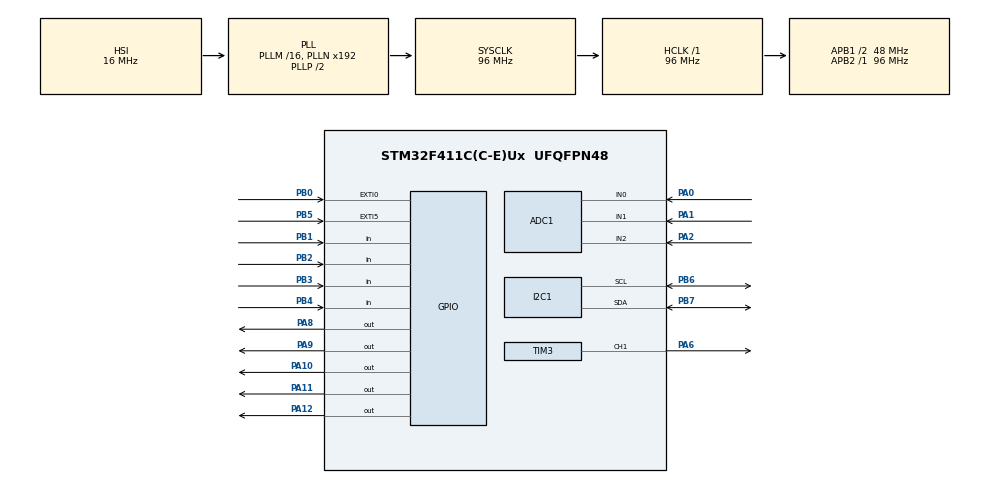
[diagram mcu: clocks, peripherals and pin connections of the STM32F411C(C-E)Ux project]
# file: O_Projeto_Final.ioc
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ADC1.Channel-0\#ChannelRegularConversion=ADC_CHANNEL_0
ADC1.Channel-1\#ChannelRegularConversion=ADC_CHANNEL_1
ADC1.Channel-2\#ChannelRegularConversion=ADC_CHANNEL_2
ADC1.ContinuousConvMode=ENABLE
ADC1.DMAContinuousRequests=ENABLE
ADC1.NbrOfConversion=3
ADC1.NbrOfConversionFlag=1
ADC1.Rank-0\#ChannelRegularConversion=1
ADC1.Rank-1\#ChannelRegularConversion=2
ADC1.Rank-2\#ChannelRegularConversion=3
ADC1.SamplingTime-0\#ChannelRegularConversion=ADC_SAMPLETIME_84CYCLES
ADC1.SamplingTime-1\#ChannelRegularConversion=ADC_SAMPLETIME_84CYCLES
ADC1.SamplingTime-2\#ChannelRegularConversion=ADC_SAMPLETIME_84CYCLES
ADC1.ScanConvMode=ENABLE
ADC1.master=1
Dma.ADC1.0.Direction=DMA_PERIPH_TO_MEMORY
Dma.ADC1.0.FIFOMode=DMA_FIFOMODE_DISABLE
Dma.ADC1.0.Instance=DMA2_Stream0
Dma.ADC1.0.MemDataAlignment=DMA_MDATAALIGN_HALFWORD
Dma.ADC1.0.MemInc=DMA_MINC_ENABLE
Dma.ADC1.0.Mode=DMA_CIRCULAR
Dma.ADC1.0.PeriphDataAlignment=DMA_PDATAALIGN_HALFWORD
Dma.ADC1.0.PeriphInc=DMA_PINC_DISABLE
Dma.ADC1.0.Priority=DMA_PRIORITY_LOW
Dma.Request0=ADC1
Mcu.Family=STM32F4
Mcu.Name=STM32F411C(C-E)Ux
Mcu.Package=UFQFPN48
NVIC.ADC_IRQn=true\:0\:0\:false\:false\:true\:true\:true\:true
NVIC.DMA2_Stream0_IRQn=true\:0\:0\:false\:false\:true\:false\:true\:true
NVIC.EXTI0_IRQn=true\:0\:0\:false\:false\:true\:true\:true\:true
NVIC.EXTI9_5_IRQn=true\:0\:0\:false\:false\:true\:true\:true\:true
NVIC.PriorityGroup=NVIC_PRIORITYGROUP_4
NVIC.TIM4_IRQn=true\:0\:0\:false\:false\:true\:true\:true\:true
PA0-WKUP.Signal=ADCx_IN0
PA1.Signal=ADCx_IN1
PA10.Signal=GPIO_Output
PA11.Signal=GPIO_Output
PA12.Signal=GPIO_Output
PA13.Mode=Serial_Wire
PA13.Signal=SYS_JTMS-SWDIO
PA14.Mode=Serial_Wire
PA14.Signal=SYS_JTCK-SWCLK
PA2.Signal=ADCx_IN2
PA6.Signal=S_TIM3_CH1
PA8.Signal=GPIO_Output
PA9.Signal=GPIO_Output
PB0.GPIO_ModeDefaultEXTI=GPIO_MODE_IT_RISING_FALLING
PB0.GPIO_PuPd=GPIO_PULLDOWN
PB0.Signal=GPXTI0
PB1.GPIO_PuPd=GPIO_PULLDOWN
PB1.Signal=GPIO_Input
PB2.Signal=GPIO_Input
PB3.GPIO_PuPd=GPIO_PULLDOWN
PB3.Signal=GPIO_Input
PB4.GPIO_PuPd=GPIO_PULLDOWN
PB4.Signal=GPIO_Input
PB5.GPIO_ModeDefaultEXTI=GPIO_MODE_IT_RISING_FALLING
PB5.GPIO_PuPd=GPIO_PULLDOWN
PB5.Signal=GPXTI5
PB6.GPIO_Pu=GPIO_PULLUP
PB6.Mode=I2C
PB6.Signal=I2C1_SCL
PB7.GPIO_Pu=GPIO_PULLUP
PB7.Mode=I2C
PB7.Signal=I2C1_SDA
PC14-OSC32_IN.Mode=LSE-External-Oscillator
PC14-OSC32_IN.Signal=RCC_OSC32_IN
PC15-OSC32_OUT.Mode=LSE-External-Oscillator
PC15-OSC32_OUT.Signal=RCC_OSC32_OUT
PH0\ -\ OSC_IN.Mode=HSE-External-Oscillator
PH0\ -\ OSC_IN.Signal=RCC_OSC_IN
PH1\ -\ OSC_OUT.Mode=HSE-External-Oscillator
PH1\ -\ OSC_OUT.Signal=RCC_OSC_OUT
ProjectManager.HeapSize=0x200
ProjectManager.StackSize=0x400
ProjectManager.TargetToolchain=STM32CubeIDE
RCC.AHBFreq_Value=96000000
RCC.APB1CLKDivider=RCC_HCLK_DIV2
RCC.APB1Freq_Value=48000000
RCC.APB1TimFreq_Value=96000000
RCC.APB2Freq_Value=96000000
RCC.APB2TimFreq_Value=96000000
RCC.CortexFreq_Value=96000000
RCC.HCLKFreq_Value=96000000
RCC.HSE_VALUE=25000000
RCC.HSI_VALUE=16000000
RCC.SYSCLKFreq_VALUE=96000000
RCC.SYSCLKSource=RCC_SYSCLKSOURCE_PLLCLK
RCC.VCOOutputFreq_Value=192000000
SH.ADCx_IN0.0=ADC1_IN0,IN0
SH.ADCx_IN1.0=ADC1_IN1,IN1
SH.ADCx_IN2.0=ADC1_IN2,IN2
SH.S_TIM3_CH1.0=TIM3_CH1,PWM Generation1 CH1
TIM3.Channel-PWM\ Generation1\ CH1=TIM_CHANNEL_1
TIM4.Period=9999
TIM4.Prescaler=9599
VP_TIM2_VS_ClockSourceINT.Mode=Internal
VP_TIM4_VS_ClockSourceINT.Mode=Internal
board=custom

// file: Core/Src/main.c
/* USER CODE BEGIN Header */
/**
 ******************************************************************************
 * @file           : main.c
 * @brief          : Main program body
 ******************************************************************************
 * @attention
 *
 * Copyright (c) 2026 STMicroelectronics.
 * All rights reserved.
 *
 * This software is licensed under terms that can be found in the LICENSE file
 * in the root directory of this software component.
 * If no LICENSE file comes with this software, it is provided AS-IS.
 *
 ******************************************************************************
 */
/* USER CODE END Header */
#include "main.h"

/* USER CODE BEGIN Includes */
#include "../../ECUAL/I2C_LCD/I2C_LCD.h"
#include <stdio.h>
#include <math.h>
/* USER CODE END Includes */

/* USER CODE BEGIN PD */
#define MyI2C_LCD I2C_LCD_1
/* USER CODE END PD */

ADC_HandleTypeDef hadc1;
DMA_HandleTypeDef hdma_adc1;

I2C_HandleTypeDef hi2c1;

TIM_HandleTypeDef htim2;
TIM_HandleTypeDef htim3;
TIM_HandleTypeDef htim4;

void SystemClock_Config(void);
static void MX_GPIO_Init(void);
static void MX_DMA_Init(void);
static void MX_I2C1_Init(void);
static void MX_ADC1_Init(void);
static void MX_TIM2_Init(void);
static void MX_TIM3_Init(void);
static void MX_TIM4_Init(void);
/* USER CODE BEGIN PFP */
void ativar_Furo();
void alimentar_Barra();
void HMS_Converter();
/* USER CODE END PFP */

/* USER CODE BEGIN 0 */
int menu=0;
int peças_Produzidas = 0;
int peças_Seguidas=0;
int falhas;
int timer_Produção;
int sensor_Temp;
int sensor_Oleo;
int poten_Veloc;
int process_Running=0;
int process_Delays;
int flag=0;
int alimentações_Seguidas=0;
int parar_FM=0;
int tempo_Segundos = 0;
int a =1 ;

float peças_Minuto;
float altura_Oleo;

float temperatura_C;
float temperatura_K;
float nivel_Oleo;
float variação_Oleo;
float variação_Temp;

char string_LCD[17];

uint32_t prev_Tick = 0;
uint16_t prev_Oleo = 0;
uint16_t prev_Temp = 0;
uint16_t prev_Veloc = 0;
uint32_t agora;
uint32_t tempo_Decorrido = 0;

uint32_t delta_ms;
uint32_t pwm_spray;
volatile uint32_t GP_Timer;
uint32_t tempo_Timer;

//Isso é o vetor que o DMA escreve, são as leituras do ADC
uint16_t ADC_Reads[3];

/* USER CODE END 0 */

int main(void)
{

  /* MCU Configuration--------------------------------------------------------*/

  /* Reset of all peripherals, Initializes the Flash interface and the Systick. */
  HAL_Init();

  /* Configure the system clock */
  SystemClock_Config();

  /* Initialize all configured peripherals */
  MX_GPIO_Init();
  MX_DMA_Init();
  MX_I2C1_Init();
  MX_ADC1_Init();
  MX_TIM2_Init();
  MX_TIM3_Init();
  MX_TIM4_Init();
  /* USER CODE BEGIN 2 */

	// Inicialização do LCD
	HAL_Delay(500);
	I2C_LCD_Init(MyI2C_LCD);
	HAL_Delay(100);
	I2C_LCD_Clear(MyI2C_LCD);
	HAL_Delay(100);

	//Inicialização do DMA dos ADCs
	HAL_ADC_Start_DMA(&hadc1, (uint32_t*)ADC_Reads,3);

	HAL_TIM_PWM_Start(&htim3, TIM_CHANNEL_1);

  /* USER CODE END 2 */

  /* Infinite loop */
  /* USER CODE BEGIN WHILE */
	while (1)
	{

		//HAL_GPIO_WritePin(GPIOA, GPIO_PIN_8|GPIO_PIN_9|GPIO_PIN_10|GPIO_PIN_11|GPIO_PIN_12, a);

		//Esse trecho controla os botões cima e baixo
		//Os PB2 e PB3 serão o cima e baixo
		if (HAL_GPIO_ReadPin(GPIOB, GPIO_PIN_2)==1 && process_Running==0)
		{
			I2C_LCD_Clear(MyI2C_LCD);

			process_Running = 0;

			if (menu>6||menu<-1){menu=0;}
			else {menu++;}
			HAL_Delay(200);
		}
		if (HAL_GPIO_ReadPin(GPIOB, GPIO_PIN_3)==1 && process_Running==0)
		{
			I2C_LCD_Clear(MyI2C_LCD);

			process_Running = 0;

			if (menu<1||menu>7){menu=7;}
			else {menu--;}
			HAL_Delay(200);
		}

		//O botão AZUL é o OK, ele muda o process_Running para 1. Isso ativa qualquer ação baseada no menu
		if (HAL_GPIO_ReadPin(GPIOB, GPIO_PIN_1)==1 && process_Running==0)
		{
			process_Running = 1;
			parar_FM = 0;				//Isso serve para o furo multiplo
			GP_Timer = HAL_GetTick();
			if (menu==1)
			{
				tempo_Segundos = 0; 			//Reseta tempo
				HAL_TIM_Base_Start_IT(&htim4);  //Inicia o timer do furo multiplo
				peças_Seguidas=0;				//Reseta peças seguidas
			}
			HAL_Delay(200);
		}

		if (process_Running == 1)
		{
			//Furo unico
			if (menu == 0)
			{
				ativar_Furo();
			}

			//Furo multiplo
			else if (menu == 1)
			{
				ativar_Furo();
			}

			//Soltar Pistões
			else if (menu==2)
			{
				HAL_GPIO_WritePin(GPIOA,  GPIO_PIN_9|GPIO_PIN_10|GPIO_PIN_8|GPIO_PIN_11, 0);
				process_Running = 0;
			}

			else if (menu ==7){}//Isso é pro else nn ferrar tudo

			else
			{
				process_Running = 0;
			}
		}

		//Leituras ADCS
		//PA0: Velocidade, PA1: Temperatura oleo, PA2: Nivel Oleo
		poten_Veloc = ADC_Reads[0];
		sensor_Temp = ADC_Reads[1];
		sensor_Oleo = ADC_Reads[2];

		//Converções do ADC
		//Temperatura varia de 273 a 473 K
		temperatura_K = (float)(sensor_Temp/4095.0)*200.0 + 273;
		temperatura_C = temperatura_K-273.0;

		//Caso temperatura alta
		if (temperatura_C>100 && menu!=21)
		{
			I2C_LCD_Clear(MyI2C_LCD);
			menu=21;
			HAL_TIM_Base_Stop_IT(&htim4);
		}

		//Nivel do Oleo
		//O sensor medira um container 0,2m * 0,2m, com a altura sendo de 0 a 0,2m
		//Para o sensor, ele mede de 0 a 1 metros, e estara 5 cm de distancia do limite maximo
		//Logo 20cm -> h=0 e 5cm -> h=15cm
		//Tambem multiplicampos por 10³ para converter de m³ em L
		altura_Oleo = (float)((0.20)-(sensor_Oleo/4095.0));
		nivel_Oleo = (float)(altura_Oleo*0.2*0.2*pow(10,3));

		//Caso oleo esteja baixo
		if (nivel_Oleo<1&& menu!=22)
		{
			I2C_LCD_Clear(MyI2C_LCD);
			menu=22;
			HAL_TIM_Base_Stop_IT(&htim4);
		}

		//Velocidade
		//O potenciometro vai determinar o tamanh do delay de operações, de 200ms até 1000ms
		process_Delays = (poten_Veloc/4095.0)*800.0 + 200;

		//Spary
		// Escala o potenciometro para o range do PWM (0–65535)
		pwm_spray = 65535 - ((uint32_t)poten_Veloc * 65535) / 4095;
		if (pwm_spray > 65535) pwm_spray = 65535;          // limita o maximo
		if (pwm_spray < 65535/5) pwm_spray = 65535/5;	//Limita um minimo

		__HAL_TIM_SET_COMPARE(&htim3, TIM_CHANNEL_1, pwm_spray);

		// Variação dos potenciômetros (calculada a cada iteração do loop)
		uint32_t agora   = HAL_GetTick();           // tempo atual em ms
		uint32_t delta_ms = agora - prev_Tick;

		if (delta_ms > 0)
		{
			// Converte delta ADC para unidades físicas por minuto
			float delta_oleo_L = ((float)((int)sensor_Oleo - (int)prev_Oleo) / 4095.0f) * 10.0f;
			float delta_temp_C = ((float)((int)sensor_Temp - (int)prev_Temp) / 4095.0f) * 200.0f;

			float minutos = delta_ms / 60000.0f;

			if(process_Running==1 && menu==7)
			{
				variação_Oleo = delta_oleo_L / minutos;
				variação_Temp = delta_temp_C / minutos;
				process_Running = 0;
			}

		}

		prev_Oleo = sensor_Oleo;
		prev_Temp = sensor_Temp;
		prev_Tick = agora;
		prev_Veloc = poten_Veloc;

		//Se der muito erro, parar processos e avisar
		if (alimentações_Seguidas>5)
		{
			menu=-2;
			process_Running=0;
			parar_FM = 1;
			alimentações_Seguidas=0;
			HAL_TIM_Base_Stop_IT(&htim4);
			I2C_LCD_Clear(MyI2C_LCD);
		}

		//Caso tenha alguem erro, ligar led de erro
		if (menu>7 || menu <0)
		{
			HAL_GPIO_WritePin(GPIOA,  GPIO_PIN_12, 1);
		}
		else {HAL_GPIO_WritePin(GPIOA,  GPIO_PIN_12, 0);}

		//MenuHandler -- Seriamente pensando em usar uma função para lidar com tantos menus
		switch(menu)
		{
		case 0:
			I2C_LCD_SetCursor(MyI2C_LCD, 0,0);
			I2C_LCD_WriteString(MyI2C_LCD, "Modo Furo Unico:");
			break;

		case 1:

			//Se nn tiver rodando ele mostra a pergunta
			if (process_Running==0)
			{
				I2C_LCD_SetCursor(MyI2C_LCD, 0,0);
				I2C_LCD_WriteString(MyI2C_LCD, "Modo Furos Multiplos");

			}

			else
			{
				sprintf(string_LCD,"Pecas: %09d",peças_Produzidas);
				I2C_LCD_WriteString(MyI2C_LCD, string_LCD);
				I2C_LCD_SetCursor(MyI2C_LCD, 0,1);

				sprintf(string_LCD,"%02d:%02d:%02d",(tempo_Segundos/3600),(tempo_Segundos%3600)/60,tempo_Segundos%60);
				I2C_LCD_WriteString(MyI2C_LCD, string_LCD);
				I2C_LCD_SetCursor(MyI2C_LCD, 0,0);
			}

			break;

		case 2:
			sprintf(string_LCD,"OK para");
			I2C_LCD_WriteString(MyI2C_LCD, string_LCD);
			I2C_LCD_SetCursor(MyI2C_LCD, 0,1);

			sprintf(string_LCD,"Liberar psts");
			I2C_LCD_WriteString(MyI2C_LCD, string_LCD);
			I2C_LCD_SetCursor(MyI2C_LCD, 0,0);

			break;

			//Talvez inutil
		case 3:

			sprintf(string_LCD,"Pecas: %d",peças_Produzidas);
			I2C_LCD_WriteString(MyI2C_LCD, string_LCD);
			I2C_LCD_SetCursor(MyI2C_LCD, 0,1);

			sprintf(string_LCD,"%02d:%02d:%02d",(tempo_Segundos/3600),(tempo_Segundos%3600)/60,tempo_Segundos%60);
			I2C_LCD_WriteString(MyI2C_LCD, string_LCD);
			I2C_LCD_SetCursor(MyI2C_LCD, 0,0);

			break;

		case 4:

			if (tempo_Segundos!=0)
			{
				peças_Minuto = (float)(1.0*peças_Produzidas/tempo_Segundos)*60.0;
			}

			sprintf(string_LCD,"Pcs Min: %05.2f",peças_Minuto);
			I2C_LCD_WriteString(MyI2C_LCD, string_LCD);
			I2C_LCD_SetCursor(MyI2C_LCD, 0,1);

			sprintf(string_LCD,"Falhas: %d",falhas);
			I2C_LCD_WriteString(MyI2C_LCD, string_LCD);
			I2C_LCD_SetCursor(MyI2C_LCD, 0,0);

			break;

		case 5:
			sprintf(string_LCD,"Temperaturas:");
			I2C_LCD_WriteString(MyI2C_LCD, string_LCD);
			I2C_LCD_SetCursor(MyI2C_LCD, 0,1);

			sprintf(string_LCD,"%04.1f C %04.1f K",temperatura_C,temperatura_K);
			I2C_LCD_WriteString(MyI2C_LCD, string_LCD);
			I2C_LCD_SetCursor(MyI2C_LCD, 0,0);

			break;

		case 6:
			sprintf(string_LCD,"Nivel do oleo:");
			I2C_LCD_WriteString(MyI2C_LCD, string_LCD);
			I2C_LCD_SetCursor(MyI2C_LCD, 0,1);

			sprintf(string_LCD,"%05.2f L",nivel_Oleo);
			I2C_LCD_WriteString(MyI2C_LCD, string_LCD);
			I2C_LCD_SetCursor(MyI2C_LCD, 0,0);

			break;

		case 7:
			sprintf(string_LCD,"vOleo: %04.1f L/m",variação_Oleo);
			I2C_LCD_WriteString(MyI2C_LCD, string_LCD);
			I2C_LCD_SetCursor(MyI2C_LCD, 0,1);

			sprintf(string_LCD,"vTmp: %04.1f C/m",variação_Temp);
			I2C_LCD_WriteString(MyI2C_LCD, string_LCD);
			I2C_LCD_SetCursor(MyI2C_LCD, 0,0);

			break;

			//Casos especiais:
			//tempo de produção (Furo multiplo)
		case 20:
			sprintf(string_LCD,"Minutos:       ");
			I2C_LCD_WriteString(MyI2C_LCD, string_LCD);
			I2C_LCD_SetCursor(MyI2C_LCD, 0,1);

			sprintf(string_LCD,"%03d",timer_Produção);
			I2C_LCD_WriteString(MyI2C_LCD, string_LCD);
			I2C_LCD_SetCursor(MyI2C_LCD, 0,0);

			break;

			//Proteção temp alta
		case 21:
			sprintf(string_LCD,"ALERTA: TEMP");
			I2C_LCD_WriteString(MyI2C_LCD, string_LCD);
			I2C_LCD_SetCursor(MyI2C_LCD, 0,1);

			sprintf(string_LCD,"ALTA");
			I2C_LCD_WriteString(MyI2C_LCD, string_LCD);
			I2C_LCD_SetCursor(MyI2C_LCD, 0,0);

			break;

			//Oleo baixo
		case 22:
			sprintf(string_LCD,"ALERTA: NIVEL");
			I2C_LCD_WriteString(MyI2C_LCD, string_LCD);
			I2C_LCD_SetCursor(MyI2C_LCD, 0,1);

			sprintf(string_LCD,"OLEO BAIXO");
			I2C_LCD_WriteString(MyI2C_LCD, string_LCD);
			I2C_LCD_SetCursor(MyI2C_LCD, 0,0);

			break;

			//Falhas contnuas
		case -2:
			sprintf(string_LCD,"ALERTA: MUITAS");
			I2C_LCD_WriteString(MyI2C_LCD, string_LCD);
			I2C_LCD_SetCursor(MyI2C_LCD, 0,1);

			sprintf(string_LCD,"FALHAS");
			I2C_LCD_WriteString(MyI2C_LCD, string_LCD);
			I2C_LCD_SetCursor(MyI2C_LCD, 0,0);

			break;

			//PARADA EMERGENCIAL
		case -1:
			sprintf(string_LCD,"PARADA DE       ");
			I2C_LCD_WriteString(MyI2C_LCD, string_LCD);
			I2C_LCD_SetCursor(MyI2C_LCD, 0,1);

			sprintf(string_LCD,"EMERGENCIA!     ");
			I2C_LCD_WriteString(MyI2C_LCD, string_LCD);
			I2C_LCD_SetCursor(MyI2C_LCD, 0,0);

			break;
		}

    /* USER CODE END WHILE */

	}
}

void SystemClock_Config(void)
{
  RCC_OscInitTypeDef RCC_OscInitStruct = {0};
  RCC_ClkInitTypeDef RCC_ClkInitStruct = {0};

  /** Configure the main internal regulator output voltage
  */
  __HAL_RCC_PWR_CLK_ENABLE();
  __HAL_PWR_VOLTAGESCALING_CONFIG(PWR_REGULATOR_VOLTAGE_SCALE1);

  /** Initializes the RCC Oscillators according to the specified parameters
  * in the RCC_OscInitTypeDef structure.
  */
  RCC_OscInitStruct.OscillatorType = RCC_OSCILLATORTYPE_HSI;
  RCC_OscInitStruct.HSIState = RCC_HSI_ON;
  RCC_OscInitStruct.HSICalibrationValue = RCC_HSICALIBRATION_DEFAULT;
  RCC_OscInitStruct.PLL.PLLState = RCC_PLL_ON;
  RCC_OscInitStruct.PLL.PLLSource = RCC_PLLSOURCE_HSI;
  RCC_OscInitStruct.PLL.PLLM = 16;
  RCC_OscInitStruct.PLL.PLLN = 192;
  RCC_OscInitStruct.PLL.PLLP = RCC_PLLP_DIV2;
  RCC_OscInitStruct.PLL.PLLQ = 4;
  if (HAL_RCC_OscConfig(&RCC_OscInitStruct) != HAL_OK)
  {
    Error_Handler();
  }

  /** Initializes the CPU, AHB and APB buses clocks
  */
  RCC_ClkInitStruct.ClockType = RCC_CLOCKTYPE_HCLK|RCC_CLOCKTYPE_SYSCLK
                              |RCC_CLOCKTYPE_PCLK1|RCC_CLOCKTYPE_PCLK2;
  RCC_ClkInitStruct.SYSCLKSource = RCC_SYSCLKSOURCE_PLLCLK;
  RCC_ClkInitStruct.AHBCLKDivider = RCC_SYSCLK_DIV1;
  RCC_ClkInitStruct.APB1CLKDivider = RCC_HCLK_DIV2;
  RCC_ClkInitStruct.APB2CLKDivider = RCC_HCLK_DIV1;

  if (HAL_RCC_ClockConfig(&RCC_ClkInitStruct, FLASH_LATENCY_3) != HAL_OK)
  {
    Error_Handler();
  }
}

static void MX_ADC1_Init(void)
{

  ADC_ChannelConfTypeDef sConfig = {0};

  /** Configure the global features of the ADC (Clock, Resolution, Data Alignment and number of conversion)
  */
  hadc1.Instance = ADC1;
  hadc1.Init.ClockPrescaler = ADC_CLOCK_SYNC_PCLK_DIV4;
  hadc1.Init.Resolution = ADC_RESOLUTION_12B;
  hadc1.Init.ScanConvMode = ENABLE;
  hadc1.Init.ContinuousConvMode = ENABLE;
  hadc1.Init.DiscontinuousConvMode = DISABLE;
  hadc1.Init.ExternalTrigConvEdge = ADC_EXTERNALTRIGCONVEDGE_NONE;
  hadc1.Init.ExternalTrigConv = ADC_SOFTWARE_START;
  hadc1.Init.DataAlign = ADC_DATAALIGN_RIGHT;
  hadc1.Init.NbrOfConversion = 3;
  hadc1.Init.DMAContinuousRequests = ENABLE;
  hadc1.Init.EOCSelection = ADC_EOC_SINGLE_CONV;
  if (HAL_ADC_Init(&hadc1) != HAL_OK)
  {
    Error_Handler();
  }

  /** Configure for the selected ADC regular channel its corresponding rank in the sequencer and its sample time.
  */
  sConfig.Channel = ADC_CHANNEL_0;
  sConfig.Rank = 1;
  sConfig.SamplingTime = ADC_SAMPLETIME_84CYCLES;
  if (HAL_ADC_ConfigChannel(&hadc1, &sConfig) != HAL_OK)
  {
    Error_Handler();
  }

  /** Configure for the selected ADC regular channel its corresponding rank in the sequencer and its sample time.
  */
  sConfig.Channel = ADC_CHANNEL_1;
  sConfig.Rank = 2;
  if (HAL_ADC_ConfigChannel(&hadc1, &sConfig) != HAL_OK)
  {
    Error_Handler();
  }

  /** Configure for the selected ADC regular channel its corresponding rank in the sequencer and its sample time.
  */
  sConfig.Channel = ADC_CHANNEL_2;
  sConfig.Rank = 3;
  if (HAL_ADC_ConfigChannel(&hadc1, &sConfig) != HAL_OK)
  {
    Error_Handler();
  }

}

static void MX_I2C1_Init(void)
{

  hi2c1.Instance = I2C1;
  hi2c1.Init.ClockSpeed = 100000;
  hi2c1.Init.DutyCycle = I2C_DUTYCYCLE_2;
  hi2c1.Init.OwnAddress1 = 0;
  hi2c1.Init.AddressingMode = I2C_ADDRESSINGMODE_7BIT;
  hi2c1.Init.DualAddressMode = I2C_DUALADDRESS_DISABLE;
  hi2c1.Init.OwnAddress2 = 0;
  hi2c1.Init.GeneralCallMode = I2C_GENERALCALL_DISABLE;
  hi2c1.Init.NoStretchMode = I2C_NOSTRETCH_DISABLE;
  if (HAL_I2C_Init(&hi2c1) != HAL_OK)
  {
    Error_Handler();
  }

}

static void MX_TIM2_Init(void)
{

  TIM_ClockConfigTypeDef sClockSourceConfig = {0};
  TIM_MasterConfigTypeDef sMasterConfig = {0};

  htim2.Instance = TIM2;
  htim2.Init.Prescaler = 0;
  htim2.Init.CounterMode = TIM_COUNTERMODE_UP;
  htim2.Init.Period = 4294967295;
  htim2.Init.ClockDivision = TIM_CLOCKDIVISION_DIV1;
  htim2.Init.AutoReloadPreload = TIM_AUTORELOAD_PRELOAD_DISABLE;
  if (HAL_TIM_Base_Init(&htim2) != HAL_OK)
  {
    Error_Handler();
  }
  sClockSourceConfig.ClockSource = TIM_CLOCKSOURCE_INTERNAL;
  if (HAL_TIM_ConfigClockSource(&htim2, &sClockSourceConfig) != HAL_OK)
  {
    Error_Handler();
  }
  sMasterConfig.MasterOutputTrigger = TIM_TRGO_RESET;
  sMasterConfig.MasterSlaveMode = TIM_MASTERSLAVEMODE_DISABLE;
  if (HAL_TIMEx_MasterConfigSynchronization(&htim2, &sMasterConfig) != HAL_OK)
  {
    Error_Handler();
  }

}

static void MX_TIM3_Init(void)
{

  TIM_MasterConfigTypeDef sMasterConfig = {0};
  TIM_OC_InitTypeDef sConfigOC = {0};

  htim3.Instance = TIM3;
  htim3.Init.Prescaler = 0;
  htim3.Init.CounterMode = TIM_COUNTERMODE_UP;
  htim3.Init.Period = 65535;
  htim3.Init.ClockDivision = TIM_CLOCKDIVISION_DIV1;
  htim3.Init.AutoReloadPreload = TIM_AUTORELOAD_PRELOAD_DISABLE;
  if (HAL_TIM_PWM_Init(&htim3) != HAL_OK)
  {
    Error_Handler();
  }
  sMasterConfig.MasterOutputTrigger = TIM_TRGO_RESET;
  sMasterConfig.MasterSlaveMode = TIM_MASTERSLAVEMODE_DISABLE;
  if (HAL_TIMEx_MasterConfigSynchronization(&htim3, &sMasterConfig) != HAL_OK)
  {
    Error_Handler();
  }
  sConfigOC.OCMode = TIM_OCMODE_PWM1;
  sConfigOC.Pulse = 0;
  sConfigOC.OCPolarity = TIM_OCPOLARITY_HIGH;
  sConfigOC.OCFastMode = TIM_OCFAST_DISABLE;
  if (HAL_TIM_PWM_ConfigChannel(&htim3, &sConfigOC, TIM_CHANNEL_1) != HAL_OK)
  {
    Error_Handler();
  }
  HAL_TIM_MspPostInit(&htim3);

}

static void MX_TIM4_Init(void)
{

  TIM_ClockConfigTypeDef sClockSourceConfig = {0};
  TIM_MasterConfigTypeDef sMasterConfig = {0};

  htim4.Instance = TIM4;
  htim4.Init.Prescaler = 9599;
  htim4.Init.CounterMode = TIM_COUNTERMODE_UP;
  htim4.Init.Period = 9999;
  htim4.Init.ClockDivision = TIM_CLOCKDIVISION_DIV1;
  htim4.Init.AutoReloadPreload = TIM_AUTORELOAD_PRELOAD_DISABLE;
  if (HAL_TIM_Base_Init(&htim4) != HAL_OK)
  {
    Error_Handler();
  }
  sClockSourceConfig.ClockSource = TIM_CLOCKSOURCE_INTERNAL;
  if (HAL_TIM_ConfigClockSource(&htim4, &sClockSourceConfig) != HAL_OK)
  {
    Error_Handler();
  }
  sMasterConfig.MasterOutputTrigger = TIM_TRGO_RESET;
  sMasterConfig.MasterSlaveMode = TIM_MASTERSLAVEMODE_DISABLE;
  if (HAL_TIMEx_MasterConfigSynchronization(&htim4, &sMasterConfig) != HAL_OK)
  {
    Error_Handler();
  }

}

static void MX_DMA_Init(void)
{

  /* DMA controller clock enable */
  __HAL_RCC_DMA2_CLK_ENABLE();

  /* DMA interrupt init */
  /* DMA2_Stream0_IRQn interrupt configuration */
  HAL_NVIC_SetPriority(DMA2_Stream0_IRQn, 0, 0);
  HAL_NVIC_EnableIRQ(DMA2_Stream0_IRQn);

}

static void MX_GPIO_Init(void)
{
  GPIO_InitTypeDef GPIO_InitStruct = {0};

  /* GPIO Ports Clock Enable */
  __HAL_RCC_GPIOC_CLK_ENABLE();
  __HAL_RCC_GPIOH_CLK_ENABLE();
  __HAL_RCC_GPIOA_CLK_ENABLE();
  __HAL_RCC_GPIOB_CLK_ENABLE();

  /*Configure GPIO pin Output Level */
  HAL_GPIO_WritePin(GPIOA, GPIO_PIN_8|GPIO_PIN_9|GPIO_PIN_10|GPIO_PIN_11
                          |GPIO_PIN_12, GPIO_PIN_RESET);

  /*Configure GPIO pins : PB0 PB5 */
  GPIO_InitStruct.Pin = GPIO_PIN_0|GPIO_PIN_5;
  GPIO_InitStruct.Mode = GPIO_MODE_IT_RISING_FALLING;
  GPIO_InitStruct.Pull = GPIO_PULLDOWN;
  HAL_GPIO_Init(GPIOB, &GPIO_InitStruct);

  /*Configure GPIO pins : PB1 PB3 PB4 */
  GPIO_InitStruct.Pin = GPIO_PIN_1|GPIO_PIN_3|GPIO_PIN_4;
  GPIO_InitStruct.Mode = GPIO_MODE_INPUT;
  GPIO_InitStruct.Pull = GPIO_PULLDOWN;
  HAL_GPIO_Init(GPIOB, &GPIO_InitStruct);

  /*Configure GPIO pin : PB2 */
  GPIO_InitStruct.Pin = GPIO_PIN_2;
  GPIO_InitStruct.Mode = GPIO_MODE_INPUT;
  GPIO_InitStruct.Pull = GPIO_NOPULL;
  HAL_GPIO_Init(GPIOB, &GPIO_InitStruct);

  /*Configure GPIO pins : PA8 PA9 PA10 PA11
                           PA12 */
  GPIO_InitStruct.Pin = GPIO_PIN_8|GPIO_PIN_9|GPIO_PIN_10|GPIO_PIN_11
                          |GPIO_PIN_12;
  GPIO_InitStruct.Mode = GPIO_MODE_OUTPUT_PP;
  GPIO_InitStruct.Pull = GPIO_NOPULL;
  GPIO_InitStruct.Speed = GPIO_SPEED_FREQ_LOW;
  HAL_GPIO_Init(GPIOA, &GPIO_InitStruct);

  /* EXTI interrupt init*/
  HAL_NVIC_SetPriority(EXTI0_IRQn, 0, 0);
  HAL_NVIC_EnableIRQ(EXTI0_IRQn);

  HAL_NVIC_SetPriority(EXTI9_5_IRQn, 0, 0);
  HAL_NVIC_EnableIRQ(EXTI9_5_IRQn);

}

/* USER CODE BEGIN 4 */

//Interru´çoes
void HAL_TIM_PeriodElapsedCallback(TIM_HandleTypeDef *htim)
{
    // Verifica se a interrupção veio do TIM4
    if (htim->Instance == TIM4)
    {
        tempo_Segundos++; //"porque não usar o hal_getTick?" Simples, menos variaveis, e menos confuso
        peças_Seguidas++;
    }
}

void HAL_GPIO_EXTI_Callback(uint16_t GPIO_Pin)
{
	// Verifica se a interrupção veio do pino 5
	if (GPIO_Pin == GPIO_PIN_0)
	{
		// Ativa flag para parar o furo multiplo e para o timer 4; Isto é feito pra utilizar com o furo multiplo
		parar_FM = 1;
		 HAL_TIM_Base_Stop_IT(&htim4);
	}

	else if (GPIO_Pin == GPIO_PIN_5)
	{
		//Mais divertido do que o anterior, esse mata qualquer processo forçando process_Running como 0
		//Infelizmente, não divertido é colocar a maquina em operação denovo
		//Como o codigo roda sem interrupções, mudar essa flag IMEDIATAMENTE para qualquer processo

		HAL_TIM_Base_Stop_IT(&htim4);		//Isso é para a parada de emergencia congelar o tiemr

		menu = -1;
		process_Running = 0;
		parar_FM = 1;
	}
}

void ativar_Furo()
{
	//PA8 - Pistão avanco
	//PA9 - Pistao trava
	//PA10 - Furar
	//PA11 - Ejetar Peça

	//Devemos primeiro travar o pistão trava
	if (flag!=1)
	{
		HAL_GPIO_WritePin(GPIOA,  GPIO_PIN_9, 1);
	}

	//Furar após dalay
	if ((HAL_GetTick()-GP_Timer > process_Delays) && flag!=1)
	{
		HAL_GPIO_WritePin(GPIOA, GPIO_PIN_10, 1);
	}

	//Levantar Furar após delay
	if (HAL_GetTick()-GP_Timer > 2*process_Delays && flag!=1)
	{
		HAL_GPIO_WritePin(GPIOA,  GPIO_PIN_10, 0);
	}

	//Ejetar peça
	if (HAL_GetTick()-GP_Timer > (2*process_Delays + 100) && flag!=1)
		{
			HAL_GPIO_WritePin(GPIOA,  GPIO_PIN_11, 1);
		}

	//Soltar Travas e retrair ejetor
	if (HAL_GetTick()-GP_Timer > 3*process_Delays && flag!=1)
	{
		HAL_GPIO_WritePin(GPIOA,  GPIO_PIN_9, 0);
		HAL_GPIO_WritePin(GPIOA,  GPIO_PIN_11, 0);
	}

	//Liberar Processos
	if (HAL_GetTick()-GP_Timer > 4*process_Delays || flag==1)
	{
		//Se for furo unico, encerra processo e adiciona contador
		if (menu==0){process_Running=0; peças_Produzidas++;}

		//Se for furo multiplo, alimentar maquina
		else if (menu==1 )
		{

			//Se não tiver barra (PB4 apertado), alimentar
			if (HAL_GPIO_ReadPin(GPIOB, GPIO_PIN_4)==1 || flag==1)
			{
				if (flag ==0)
				{
					GP_Timer = HAL_GetTick();
				}
				flag=1;
				alimentar_Barra();
			}

		}
	}

}

void alimentar_Barra()
{

	//PA8 - Pistão avanco
	//PA9 - Pistao trava
	//PA10 - Furar

	//Travar pistão
	//Avançar Barra
	//Soltar pistão
	//Retornar Avanço

	//Travar
	HAL_GPIO_WritePin(GPIOA,  GPIO_PIN_9, 1);

	//Avançar
	if (HAL_GetTick()-GP_Timer > process_Delays)
	{
		HAL_GPIO_WritePin(GPIOA, GPIO_PIN_8, 1);
	}

	//Soltar
	if (HAL_GetTick()-GP_Timer > 2*process_Delays)
	{
		HAL_GPIO_WritePin(GPIOA,  GPIO_PIN_9, 0);
	}

	//Retornar
	if (HAL_GetTick()-GP_Timer > 3*process_Delays)
	{
		HAL_GPIO_WritePin(GPIOA,  GPIO_PIN_8, 0);
	}

	//Liberar Processos
	if (HAL_GetTick()-GP_Timer > 4*process_Delays)
	{
		//Se ele chegar aqui, e PB4 não estiver apertado (com barra), reseta o alimentações seguidas e soma uma peça
		if (HAL_GPIO_ReadPin(GPIOB, GPIO_PIN_4)==0)
		{
			flag = 0;		//So pode liberar pra furar se der certo
			alimentações_Seguidas=0;
			peças_Produzidas++;
		}

		else
		{
			alimentações_Seguidas++;	//Isso conta quantas alimentações ele fez, caso uma seja bem sucedida, isso volta pro 0

			falhas++; 					//Isso conta as falhas, não reseta porque falhas são imperdoaveis
		}
		GP_Timer = HAL_GetTick();

	}

	if (parar_FM == 1)
	{
		process_Running=0;		//Após finalizar um ciclo, encerra processo
		flag = 0;
	}

}

/* USER CODE END 4 */

void Error_Handler(void)
{
	__disable_irq();
	while (1)
	{
	}
}
